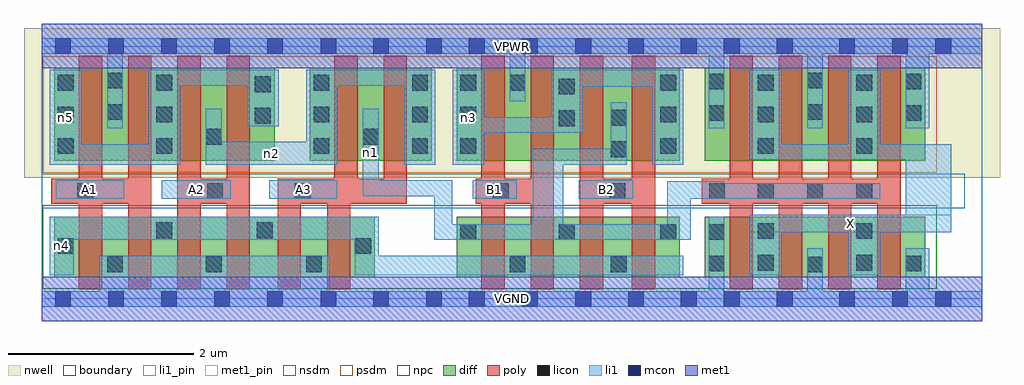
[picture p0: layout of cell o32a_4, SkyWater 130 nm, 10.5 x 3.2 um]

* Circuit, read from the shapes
.subckt o32a_4 A1 A2 A3 B1 B2 VGND VPWR X n1 n2 n3 n4 n5
XM1 VGND A1 n4 VSUBS sky130_fd_pr__nfet_01v8 w=0.65 l=0.25 m=2
XM2 VGND A2 n4 VSUBS sky130_fd_pr__nfet_01v8 w=0.65 l=0.25 m=2
XM3 VGND A3 n4 VSUBS sky130_fd_pr__nfet_01v8 w=0.65 l=0.25 m=2
XM4 n4 B1 n1 VSUBS sky130_fd_pr__nfet_01v8 w=0.65 l=0.25 m=2
XM5 n4 B2 n1 VSUBS sky130_fd_pr__nfet_01v8 w=0.65 l=0.25 m=2
XM6 X n1 VGND VSUBS sky130_fd_pr__nfet_01v8 w=0.65 l=0.25 m=4
XM7 VPWR A1 n5 n6 sky130_fd_pr__pfet_01v8 w=1 l=0.25 m=2
XM8 n2 A2 n5 n6 sky130_fd_pr__pfet_01v8 w=1 l=0.25 m=2
XM9 n1 A3 n2 n6 sky130_fd_pr__pfet_01v8 w=1 l=0.25 m=2
XM10 VPWR B1 n3 n6 sky130_fd_pr__pfet_01v8 w=1 l=0.25 m=2
XM11 n1 B2 n3 n6 sky130_fd_pr__pfet_01v8 w=1 l=0.25 m=2
XM12 X n1 VPWR n6 sky130_fd_pr__pfet_01v8 w=1 l=0.25 m=4
.ends

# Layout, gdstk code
import gdstk
lib = gdstk.Library(unit=1e-6, precision=1e-09)
def R(c, l, rs):  # rectangles x0, y0, x1, y1
    for r in rs: c.add(gdstk.rectangle(r[:2], r[2:], *l))
def A(c, l, x, y, w, h, nx, ny, dx, dy):  # array of equal rectangles
    R(c, l, [(x+i*dx, y+j*dy, x+i*dx+w, y+j*dy+h) for i in range(nx) for j in range(ny)])
nwell = (64, 20)
diff = (65, 20)
poly = (66, 20)
licon = (66, 44)
li1_pin = (67, 16)
li1 = (67, 20)
mcon = (67, 44)
met1_pin = (68, 16)
met1 = (68, 20)
nsdm = (93, 44)
psdm = (94, 20)
npc = (95, 20)
boundary = (235, 4)

o32a_4 = lib.new_cell('o32a_4')
R(o32a_4, nwell, [(-0.19,1.305,10.31,2.91), (0,1.305,10.12,2.91)])
R(o32a_4, diff, [(0.135,0.235,3.585,0.885), (4.465,0.235,6.865,0.885), (7.135,0.235,9.505,0.885), (0.135,1.485,2.505,2.485), (2.885,1.485,4.195,2.485), (4.465,1.485,6.865,2.485), (7.135,1.485,9.505,2.485)])
A(o32a_4, poly, 0.4, 0.105, 0.25, 2.51, 4, 1, 0.53, 0)
A(o32a_4, poly, 4.73, 0.105, 0.25, 2.51, 3, 1, 0.53, 0)
A(o32a_4, poly, 7.4, 0.105, 0.25, 2.51, 4, 1, 0.53, 0)
R(o32a_4, poly, [(2.54,0.105,2.79,1.295), (3.07,0.105,3.32,1.295), (6.35,0.105,6.6,2.615), (0.105,1.025,1.18,1.295), (1.46,1.025,2.24,1.295), (2.54,1.025,3.93,1.295), (3.15,1.025,3.4,2.615), (3.68,1.025,3.93,2.615), (4.67,1.025,5.51,1.295), (5.79,1.025,6.6,1.295), (7.1,1.025,9.24,1.295)])
A(o32a_4, licon, 7.705, 1.075, 0.17, 0.17, 3, 1, 0.53, 0)
A(o32a_4, licon, 0.175, 1.56, 0.17, 0.17, 1, 3, 0, 0.34)
A(o32a_4, licon, 1.235, 1.56, 0.17, 0.17, 1, 3, 0, 0.34)
A(o32a_4, licon, 2.925, 1.56, 0.17, 0.17, 1, 3, 0, 0.34)
A(o32a_4, licon, 3.985, 1.56, 0.17, 0.17, 1, 3, 0, 0.34)
A(o32a_4, licon, 4.505, 1.56, 0.17, 0.17, 1, 3, 0, 0.34)
A(o32a_4, licon, 6.655, 1.56, 0.17, 0.17, 1, 3, 0, 0.34)
A(o32a_4, licon, 7.705, 1.56, 0.17, 0.17, 1, 3, 0, 0.34)
A(o32a_4, licon, 8.765, 1.56, 0.17, 0.17, 1, 3, 0, 0.34)
R(o32a_4, licon, [(0.705,0.285,0.875,0.455), (1.765,0.285,1.935,0.455), (2.845,0.285,3.015,0.455), (5.035,0.285,5.205,0.455), (6.125,0.285,6.295,0.455), (8.235,0.285,8.405,0.455), (7.175,0.295,7.345,0.465), (9.295,0.295,9.465,0.465), (7.705,0.305,7.875,0.475), (8.765,0.305,8.935,0.475), (0.175,0.485,0.345,0.655), (3.375,0.485,3.545,0.655), (4.505,0.635,4.675,0.805), (5.565,0.635,5.735,0.805), (6.655,0.635,6.825,0.805), (7.175,0.635,7.345,0.805), (7.705,0.645,7.875,0.815), (8.765,0.645,8.935,0.815), (1.235,0.655,1.405,0.825), (2.315,0.655,2.485,0.825), (0.385,1.075,0.555,1.245), (1.78,1.075,1.95,1.245), (2.725,1.075,2.895,1.245), (4.855,1.075,5.025,1.245), (6.11,1.075,6.28,1.245), (7.18,1.075,7.35,1.245), (6.125,1.525,6.295,1.695), (1.765,1.66,1.935,1.83), (3.455,1.66,3.625,1.83), (5.565,1.86,5.735,2.03), (6.125,1.865,6.295,2.035), (2.295,1.885,2.465,2.055), (7.175,1.915,7.345,2.085), (9.295,1.915,9.465,2.085), (0.705,1.925,0.875,2.095), (8.235,1.925,8.405,2.095), (5.565,2.2,5.735,2.37), (2.295,2.225,2.465,2.395), (5.035,2.24,5.205,2.41), (7.175,2.255,7.345,2.425), (9.295,2.255,9.465,2.425), (0.705,2.265,0.875,2.435), (8.235,2.265,8.405,2.435)])
R(o32a_4, li1_pin, [(7.62,0.715,9.785,0.905), (0.15,1.075,0.89,1.275), (1.29,1.075,2.035,1.275), (2.45,1.075,3.18,1.275), (4.64,1.075,5.11,1.275), (5.78,1.075,6.365,1.275)])
R(o32a_4, li1, [(0,-0.085,10.12,0.085), (0.62,-0.085,3.1,0.465), (7.175,-0.085,7.345,0.885), (8.235,-0.085,8.405,0.545), (9.295,-0.085,9.55,0.545), (0.085,0.255,0.345,0.885), (3.37,0.255,6.905,0.465), (3.37,0.255,3.625,0.885), (7.62,0.255,7.96,0.905), (8.68,0.255,9.02,0.905), (0.085,0.635,3.625,0.885), (4.225,0.635,6.985,0.805), (4.225,0.635,4.415,1.275), (5.285,0.635,5.61,1.615), (6.73,0.635,6.985,1.265), (7.62,0.715,9.785,0.905), (9.295,0.715,9.785,1.665), (0.15,1.075,0.89,1.275), (1.29,1.075,2.035,1.275), (2.45,1.075,3.18,1.275), (4.64,1.075,5.11,1.275), (5.78,1.075,6.365,1.275), (6.73,1.075,9.02,1.245), (6.73,1.075,7.345,1.265), (3.455,1.105,3.625,2.045), (3.455,1.105,4.415,1.275), (0.085,1.445,0.43,2.465), (0.085,1.445,1.49,1.665), (1.15,1.445,1.49,2.465), (1.765,1.445,3.18,1.69), (1.765,1.445,1.935,2.045), (2.845,1.445,3.18,2.465), (3.9,1.445,4.235,2.465), (4.425,1.445,4.76,2.465), (5.285,1.445,6.295,1.615), (6.125,1.445,6.295,2.115), (6.57,1.445,6.905,2.465), (7.62,1.495,7.96,2.465), (7.62,1.495,9.785,1.665), (8.68,1.495,9.02,2.465), (4.425,1.785,5.82,1.955), (5.48,1.785,5.82,2.465), (0.705,1.835,0.875,2.805), (7.175,1.835,7.345,2.805), (8.235,1.835,8.405,2.805), (9.295,1.835,9.55,2.805), (2.21,1.86,2.55,2.465), (5.035,2.125,5.205,2.805), (5.48,2.285,6.905,2.465), (1.15,2.295,2.55,2.465), (2.845,2.295,4.235,2.465), (0,2.635,10.12,2.805)])
A(o32a_4, mcon, 0.145, -0.085, 0.17, 0.17, 5, 2, 0.57, 2.72)
R(o32a_4, mcon, [(3,-0.085,3.17,0.085), (3.565,-0.085,3.735,0.085), (4.135,-0.085,4.305,0.085), (4.595,-0.085,4.765,0.085), (5.165,-0.085,5.335,0.085), (5.74,-0.085,5.91,0.085), (6.31,-0.085,6.48,0.085), (6.875,-0.085,7.045,0.085), (7.34,-0.085,7.51,0.085), (7.91,-0.085,8.08,0.085), (8.58,-0.085,8.75,0.085), (9.15,-0.085,9.32,0.085), (9.615,-0.085,9.785,0.085), (3,2.635,3.17,2.805), (3.565,2.635,3.735,2.805), (4.135,2.635,4.305,2.805), (4.595,2.635,4.765,2.805), (5.165,2.635,5.335,2.805), (5.74,2.635,5.91,2.805), (6.31,2.635,6.48,2.805), (6.875,2.635,7.045,2.805), (7.34,2.635,7.51,2.805), (7.91,2.635,8.08,2.805), (8.58,2.635,8.75,2.805), (9.15,2.635,9.32,2.805), (9.615,2.635,9.785,2.805)])
R(o32a_4, met1_pin, [(0,-0.24,10.12,0.24), (0,2.48,10.12,2.96)])
R(o32a_4, met1, [(0,-0.24,10.12,0.24), (0,2.48,10.12,2.96)])
R(o32a_4, nsdm, [(0.01,0.11,9.63,1.01)])
R(o32a_4, psdm, [(0.01,1.36,9.63,2.61)])
R(o32a_4, npc, [(0,0.975,9.93,1.345)])
R(o32a_4, boundary, [(0,0,10.12,2.72)])
o32a_4.add(gdstk.Label('A1', (0.52,1.175), layer=67, texttype=5))
o32a_4.add(gdstk.Label('A2', (1.662,1.175), layer=67, texttype=5))
o32a_4.add(gdstk.Label('A3', (2.815,1.175), layer=67, texttype=5))
o32a_4.add(gdstk.Label('B1', (4.875,1.175), layer=67, texttype=5))
o32a_4.add(gdstk.Label('B2', (6.072,1.175), layer=67, texttype=5))
o32a_4.add(gdstk.Label('X', (8.702,0.81), layer=67, texttype=5))
o32a_4.add(gdstk.Label('n4', (0.215,0.57), layer=67, texttype=5))
o32a_4.add(gdstk.Label('n1', (3.54,1.575), layer=67, texttype=5))
o32a_4.add(gdstk.Label('n5', (0.257,1.955), layer=67, texttype=5))
o32a_4.add(gdstk.Label('n2', (2.472,1.567), layer=67, texttype=5))
o32a_4.add(gdstk.Label('n3', (4.592,1.955), layer=67, texttype=5))
o32a_4.add(gdstk.Label('VPWR', (5.06,2.72), layer=68, texttype=5))
o32a_4.add(gdstk.Label('VGND', (5.06,0), layer=68, texttype=5))
o32a_4.add(gdstk.Label('A1', (0.52,1.175), layer=67, texttype=16))
o32a_4.add(gdstk.Label('A2', (1.662,1.175), layer=67, texttype=16))
o32a_4.add(gdstk.Label('A3', (2.815,1.175), layer=67, texttype=16))
o32a_4.add(gdstk.Label('B1', (4.875,1.175), layer=67, texttype=16))
o32a_4.add(gdstk.Label('B2', (6.072,1.175), layer=67, texttype=16))
o32a_4.add(gdstk.Label('X', (8.702,0.81), layer=67, texttype=16))
o32a_4.add(gdstk.Label('VPWR', (5.06,2.72), layer=68, texttype=16))
o32a_4.add(gdstk.Label('VGND', (5.06,0), layer=68, texttype=16))

lib.write_gds('o32a_4.gds')
